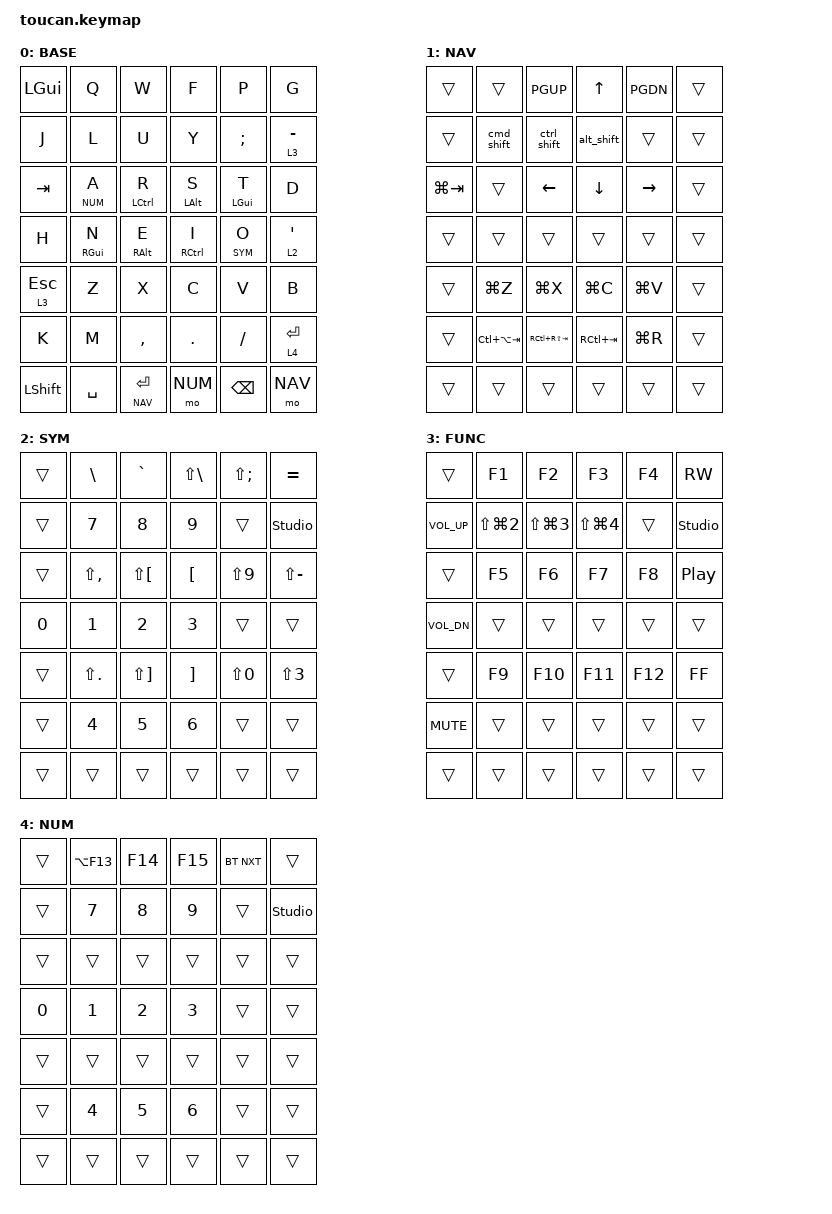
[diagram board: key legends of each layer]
/*
 * Exported from ZMK Studio
 * Date: 2026-02-14T18:36:12.906Z
 * Device: Toucan
 * Version: 1.0.0
 * Layers: 5
 */

#include <behaviors.dtsi>
#include <dt-bindings/zmk/keys.h>
#include <dt-bindings/zmk/bt.h>

#define BASE 0
#define NAV 1
#define SYM 2
#define FUNC 3
#define NUM 4

#define KEYS_L 0 1 2 3 4 5 12 13 14 15 16 17 24 25 26 27 28 29  // left hand
#define KEYS_R 6 7 8 9 10 11 18 19 20 21 22 23 30 31 32 33 34 35  // right hand
#define THUMBS 36 37 38 39 40 41

/ {
  macros {
    cmd_shift: cmd_shift {
      compatible = "zmk,behavior-macro";
      #binding-cells = <0>;
      bindings = <&macro_press &kp LSHFT &kp LGUI>, <&macro_pause_for_release>, <&macro_release &kp LGUI &kp LSHFT>;
    };
    ctrl_shift: ctrl_shift {
      compatible = "zmk,behavior-macro";
      #binding-cells = <0>;
      bindings = <&macro_press &kp LSHFT &kp LCTRL>, <&macro_pause_for_release>, <&macro_release &kp LCTRL &kp LSHFT>;
    };
    alt_shift: alt_shift {
      compatible = "zmk,behavior-macro";
      #binding-cells = <0>;
      bindings = <&macro_press &kp LSHFT &kp LALT>, <&macro_pause_for_release>, <&macro_release &kp LALT &kp LSHFT>;
    };
  };

  behaviors {
    hml: home_row_mod_left {
      compatible = "zmk,behavior-hold-tap";
      #binding-cells = <2>;
      flavor = "balanced";
      tapping-term-ms = <280>;
      quick-tap-ms = <175>;
      require-prior-idle-ms = <200>;
      bindings = <&kp>, <&kp>;
      hold-trigger-key-positions = <KEYS_R THUMBS>;
      hold-trigger-on-release;
    };

    hmr: home_row_mod_right {
      compatible = "zmk,behavior-hold-tap";
      #binding-cells = <2>;
      flavor = "balanced";
      tapping-term-ms = <280>;
      quick-tap-ms = <175>;
      require-prior-idle-ms = <200>;
      bindings = <&kp>, <&kp>;
      hold-trigger-key-positions = <KEYS_L THUMBS>;
      hold-trigger-on-release;
    };

    hll: home_row_layer_left {
      compatible = "zmk,behavior-hold-tap";
      #binding-cells = <2>;
      flavor = "balanced";
      tapping-term-ms = <280>;
      quick-tap-ms = <175>;
      require-prior-idle-ms = <200>;
      bindings = <&mo>, <&kp>;
      hold-trigger-key-positions = <KEYS_R THUMBS>;
      hold-trigger-on-release;
    };

    hlr: home_row_layer_right {
      compatible = "zmk,behavior-hold-tap";
      #binding-cells = <2>;
      flavor = "balanced";
      tapping-term-ms = <280>;
      quick-tap-ms = <175>;
      require-prior-idle-ms = <200>;
      bindings = <&mo>, <&kp>;
      hold-trigger-key-positions = <KEYS_L THUMBS>;
      hold-trigger-on-release;
    };
  };

  keymap {
    compatible = "zmk,keymap";

    base_layer {
      label = "BASE";
      bindings = <
        &kp LGUI &kp Q &kp W &kp F &kp P &kp G
        &kp J &kp L &kp U &kp Y &kp SEMI &lt 3 MINUS
        &kp TAB &hll NUM A &hml LCTRL R &hml LALT S &hml LGUI T &kp D
        &kp H &hmr RGUI N &hmr RALT E &hmr RCTRL I &hlr SYM O &lt 2 SQT
        &lt 3 ESC &kp Z &kp X &kp C &kp V &kp B
        &kp K &kp M &kp COMMA &kp DOT &kp FSLH &lt 4 ENTER
        &kp LSHFT &kp SPACE &lt NAV ENTER &mo NUM &kp BSPC &mo NAV
      >;
    };

    nav_layer {
      label = "NAV";
      bindings = <
        &trans &trans &kp PGUP &kp UP &kp PGDN &trans
        &trans &cmd_shift &ctrl_shift &alt_shift &trans &trans
        &kp LG(TAB) &trans &kp LEFT &kp DOWN &kp RIGHT &trans
        &trans &trans &trans &trans &trans &trans
        &trans &kp LG(Z) &kp LG(X) &kp LG(C) &kp LG(V) &trans
        &trans &kp LC(LA(TAB)) &kp RC(RS(TAB)) &kp RC(TAB) &kp LG(R) &trans
        &trans &trans &trans &trans &trans &trans
      >;
    };

    sym_layer {
      label = "SYM";
      bindings = <
        &trans &kp BSLH &kp GRAVE &kp LS(BSLH) &kp LS(SEMI) &kp EQUAL
        &trans &kp N7 &kp N8 &kp N9 &trans &studio_unlock
        &trans &kp LS(COMMA) &kp LS(LBKT) &kp LBKT &kp LS(N9) &kp LS(MINUS)
        &kp N0 &kp N1 &kp N2 &kp N3 &trans &trans
        &trans &kp LS(DOT) &kp LS(RBKT) &kp RBKT &kp LS(N0) &kp LS(N3)
        &trans &kp N4 &kp N5 &kp N6 &trans &trans
        &trans &trans &trans &trans &trans &trans
      >;
    };

    func_layer {
      label = "FUNC";
      bindings = <
        &trans &kp F1 &kp F2 &kp F3 &kp F4 &kp C_RW
        &kp C_VOL_UP &kp LS(LG(N2)) &kp LS(LG(N3)) &kp LS(LG(N4)) &trans &studio_unlock
        &trans &kp F5 &kp F6 &kp F7 &kp F8 &kp C_PP
        &kp C_VOL_DN &trans &trans &trans &trans &trans
        &trans &kp F9 &kp F10 &kp F11 &kp F12 &kp C_FF
        &kp C_MUTE &trans &trans &trans &trans &trans
        &trans &trans &trans &trans &trans &trans
      >;
    };

    num_layer {
      label = "NUM";
      bindings = <
        &trans &kp LA(F13) &kp F14 &kp F15 &bt BT_NXT &trans
        &trans &kp N7 &kp N8 &kp N9 &trans &studio_unlock
        &trans &trans &trans &trans &trans &trans
        &kp N0 &kp N1 &kp N2 &kp N3 &trans &trans
        &trans &trans &trans &trans &trans &trans
        &trans &kp N4 &kp N5 &kp N6 &trans &trans
        &trans &trans &trans &trans &trans &trans
      >;
    };
  };
};

/*
 * NOTE: This export does not include:
 * - Combos (add them manually if needed)
 * - Macros (add them manually if needed)
 * - Custom behaviors
 *
 * To use this file:
 * 1. Copy to your ZMK config repository (config/your-keyboard.keymap)
 * 2. Commit and push to trigger firmware build
 * 3. Download and flash the compiled firmware
 */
